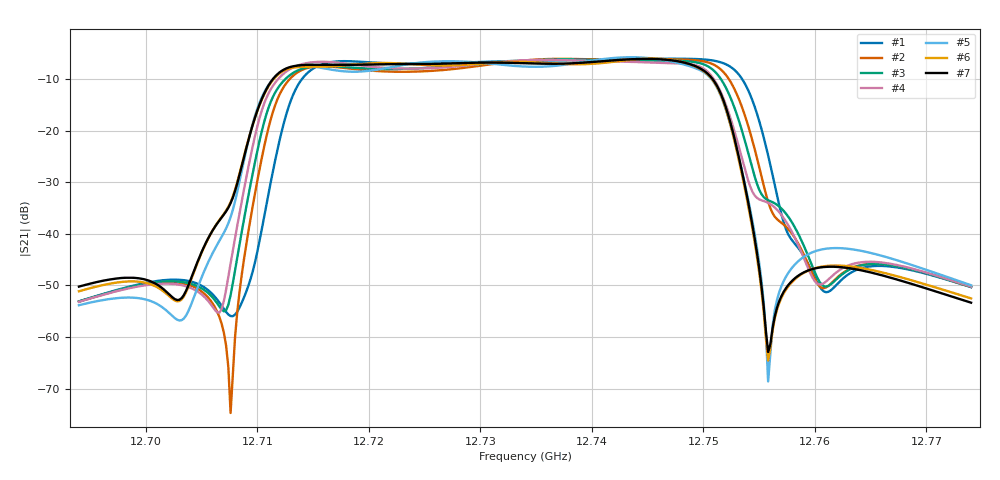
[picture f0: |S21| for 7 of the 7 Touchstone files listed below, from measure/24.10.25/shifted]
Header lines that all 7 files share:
#  HZ  S  RI  R  50.00
! Rohde & Schwarz ZVA50 2Ports - Version 3.70 - 1145.1110k50 SN: 100192
! Measurements: S11 S21 S12 S22
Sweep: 12.694 GHz to 12.774 GHz
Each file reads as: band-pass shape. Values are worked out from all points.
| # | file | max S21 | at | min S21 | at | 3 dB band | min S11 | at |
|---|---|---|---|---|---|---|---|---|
| 1 | ku3ch4.s2p | -6.09 dB | 12.7474 GHz | -56.0 dB | 12.7078 GHz | 12.7144 GHz-12.753 GHz | -18.7 dB | 12.7154 GHz |
| 2 | ku3ch4_1.s2p | -6.11 dB | 12.7374 GHz | -74.7 dB | 12.7076 GHz | 12.7134 GHz-12.7518 GHz | -14.4 dB | 12.7512 GHz |
| 3 | ku3ch4_2.s2p | -6.21 dB | 12.7374 GHz | -55.0 dB | 12.707 GHz | 12.713 GHz-12.7512 GHz | -11.7 dB | 12.7148 GHz |
| 4 | ku3ch4_3.s2p | -6.32 dB | 12.7356 GHz | -55.3 dB | 12.7066 GHz | 12.7122 GHz-12.7506 GHz | -18.5 dB | 12.715 GHz |
| 5 | ku3ch4_4.s2p | -5.81 dB | 12.7434 GHz | -68.6 dB | 12.7558 GHz | 12.7122 GHz-12.75 GHz | -37.8 dB | 12.7132 GHz |
| 6 | ku3ch4_5.s2p | -6.05 dB | 12.7454 GHz | -64.6 dB | 12.7558 GHz | 12.712 GHz-12.7502 GHz | -19.7 dB | 12.7506 GHz |
| 7 | ku3ch4_6.s2p | -6.12 dB | 12.745 GHz | -62.9 dB | 12.7558 GHz | 12.7118 GHz-12.7504 GHz | -20.0 dB | 12.712 GHz |
